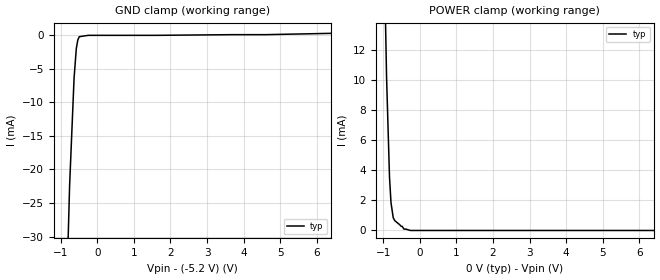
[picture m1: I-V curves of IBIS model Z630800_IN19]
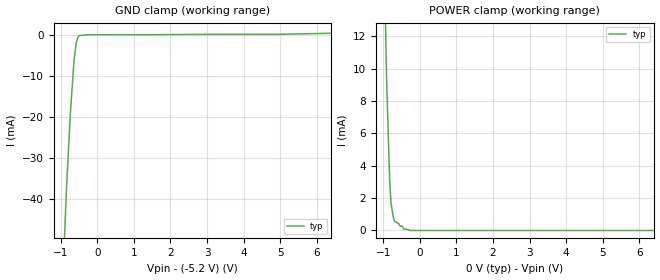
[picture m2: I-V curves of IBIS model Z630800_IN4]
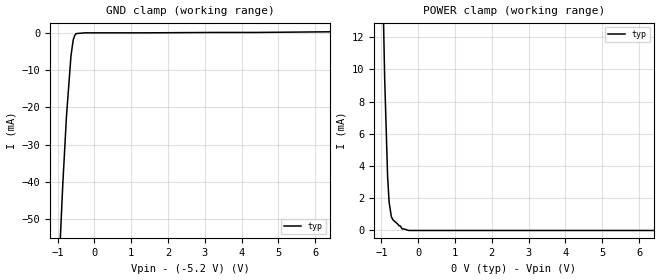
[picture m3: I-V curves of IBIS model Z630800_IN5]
| YOU ARE ONLY AUTHORIZED TO USE THIS SOFTWARE
| ACCORDING TO LICENSOR'S LICENSE RESTRICTIONS.
[IBIS Ver] 3.1
[File Name] mc10ep56dt_-52.ibs
[File Rev] 3
[Source] Derived from mc10ep57dt_-52.ibs Measured
|   and created by ICX Technology
[Date] 7/31/2003
[Copyright]
| (C) COPYRIGHT 1993-2000
| MENTOR GRAPHICS CORPORATION
| ICX STANDARD LIBRARY, ICX PROJECT MODELING,
| ICX CUSTOM MODELING, ICX VENDOR MODEL
| ALL RIGHTS RESERVED.
| THE FOLLOWING ARE TRADEMARKS OR SERVICE MARKS OF
| MENTOR GRAPHICS CORPORATION:ICX (R), ICX STANDARD
| LIBRARY(R), ICX PROJECT MODELING(R), ICX CUSTOM
| MODELING(R), qualityIBIS(TM), MODELVIEWER(TM),
| AND MODELEDITOR(TM)
| ALL COPIES OF SOFTWARE, INCLUDING BUT NOT LIMITED TO
| ANY MODIFICATIONS, ENHANCEMENTS OR DERIVATIVE WORKS,
| MUST CONTAIN ALL MENTOR GRAPHICS CORPORATION'S
| NOTICES AND LEGENDS, INCLUDING THOSE EMBEDDED IN
| SOFTWARE AND THOSE AFFIXED TO SOFTWARE MEDIUM
| AND CONTAINER, AS RECEIVED FROM MENTOR GRAPHICS
| CORPORATION.
|  ZAP Model Builder 2.8
[Component] MC10EP56DT_-52
[Manufacturer] ON
[Package]
| variable   typ   min   max
R_pkg  .18ohms NA NA
L_pkg  4.22nH NA NA
C_pkg  .41pF NA NA
[Pin] signal_name  model_name  R_pin  L_pin C_pin
1 D0a Z630800_IN4 .185 4.57n .42p
2 _D0a Z630800_IN5 .177 3.98n .42p
3 VBB0 POWER .177 3.98n .42p
4 D0b Z630800_IN4 .185 4.57n .42p
5 _D0b Z630800_IN5 .177 3.98n .42p
6 D1a Z630800_IN4 .185 4.57n .42p
7 _D1a Z630800_IN5 .177 3.98n .42p
8 VBB1 POWER .177 3.98n .42p
9 D1b Z630800_IN5 .177 3.98n .42p
10 _D1b Z630800_IN4 .185 4.57n .42p
11 VEE POWER .194 5.16n .43p
12 _Q1 Z630800_OUT15 .171 3.6n .37p
13 Q1 Z630800_OUT16 .171 3.6n .37p
14 VCC POWER .174 3.79n .41p
15 SEL1 Z630800_IN19 .177 3.98n .42p
16 COM_SEL Z630800_IN4 .185 4.57n .42p
17 SEL0 Z630800_IN19 .177 3.98n .42p
18 _Q0 Z630800_OUT15 .171 3.6n .37p
19 Q0 Z630800_OUT16 .171 3.6n .37p
20 VCC POWER .194 5.16n .43p
[Diff Pin] inv_pin vdiff tdelay_typ tdelay_min tdelay_max
1 2 150mv NA NA NA
4 5 150mv NA NA NA
6 7 150mv NA NA NA
9 10 150mv NA NA NA
13 12 NA NA NA NA
19 18 NA NA NA NA
| Models and submodels in the file (5): Z630800_IN19 (Input_ECL), Z630800_IN4 (Input_ECL), Z630800_IN5 (Input_ECL), Z630800_OUT15 (Output_ECL), Z630800_OUT16 (Output_ECL)
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| (C) COPYRIGHT 1993-2000
| MENTOR GRAPHICS CORPORATION
| ICX STANDARD LIBRARY, ICX PROJECT MODELING,
| ICX CUSTOM MODELING, ICX VENDOR MODEL
| ALL RIGHTS RESERVED.
| THE FOLLOWING ARE TRADEMARKS OR SERVICE MARKS OF
| MENTOR GRAPHICS CORPORATION:ICX (R), ICX STANDARD
| LIBRARY(R), ICX PROJECT MODELING(R), ICX CUSTOM
| MODELING(R), qualityIBIS(TM), MODELVIEWER(TM),
| AND MODELEDITOR(TM)
| ALL COPIES OF SOFTWARE, INCLUDING BUT NOT LIMITED TO
| ANY MODIFICATIONS, ENHANCEMENTS OR DERIVATIVE WORKS,
| MUST CONTAIN ALL MENTOR GRAPHICS CORPORATION'S
| NOTICES AND LEGENDS, INCLUDING THOSE EMBEDDED IN
| SOFTWARE AND THOSE AFFIXED TO SOFTWARE MEDIUM
| AND CONTAINER, AS RECEIVED FROM MENTOR GRAPHICS
| CORPORATION.
| Model Application Version 1.89 2/18/99.
[Model] Z630800_IN19
Model_type Input_ECL
Vinl = -1.545V
Vinh = -1.145V
C_comp 2.000pF NA NA
| variable typ   min   max
[Voltage Range] -5.200V NA NA
[GND Clamp Reference] -5.200V NA NA
[POWER Clamp Reference] 0.000V NA NA
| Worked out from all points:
|   GND clamp passes 1 mA (typ) near -0.55 V on its own axis
|   POWER clamp passes 1 mA (typ) near -0.74 V on its own axis
[GND Clamp]
-5.2V     -903.1mA   NA         NA
-760mV    -22.4mA    NA         NA
-638mV    -6.4mA     NA         NA
-577mV    -2mA       NA         NA
-536mV    -700uA     NA         NA
-496mV    -200uA     NA         NA
-248mV    0A         NA         NA
1.622V    0A         NA         NA
3.68V     100uA      NA         NA
4.592V    100uA      NA         NA
10.4V     736.8uA    NA         NA
[POWER Clamp]
-5.2V     745.6mA    NA         NA
-1.034V   26.02mA    NA         NA
-912mV    10.23mA    NA         NA
-831mV    3.542mA    NA         NA
-790mV    1.847mA    NA         NA
-730mV    853.3uA    NA         NA
-689mV    657.8uA    NA         NA
-516.5mV  280uA      NA         NA
-486mV    280uA      NA         NA
-435.5mV  91.12uA    NA         NA
-256.7mV  0A         NA         NA
10.4V     0A         NA         NA
| (C) COPYRIGHT 1993-2000
| MENTOR GRAPHICS CORPORATION
| ICX STANDARD LIBRARY, ICX PROJECT MODELING,
| ICX CUSTOM MODELING, ICX VENDOR MODEL
| ALL RIGHTS RESERVED.
| THE FOLLOWING ARE TRADEMARKS OR SERVICE MARKS OF
| MENTOR GRAPHICS CORPORATION:ICX (R), ICX STANDARD
| LIBRARY(R), ICX PROJECT MODELING(R), ICX CUSTOM
| MODELING(R), qualityIBIS(TM), MODELVIEWER(TM),
| AND MODELEDITOR(TM)
| ALL COPIES OF SOFTWARE, INCLUDING BUT NOT LIMITED TO
| ANY MODIFICATIONS, ENHANCEMENTS OR DERIVATIVE WORKS,
| MUST CONTAIN ALL MENTOR GRAPHICS CORPORATION'S
| NOTICES AND LEGENDS, INCLUDING THOSE EMBEDDED IN
| SOFTWARE AND THOSE AFFIXED TO SOFTWARE MEDIUM
| AND CONTAINER, AS RECEIVED FROM MENTOR GRAPHICS
| CORPORATION.
| Model Application Version 1.89 2/18/99.
[Model] Z630800_IN4
Model_type Input_ECL
Vinl = -1.545V
Vinh = -1.145V
C_comp 2.000pF NA NA
| variable typ   min   max
[Voltage Range] -5.200V NA NA
[GND Clamp Reference] -5.200V NA NA
[POWER Clamp Reference] 0.000V NA NA
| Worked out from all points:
|   GND clamp passes 1 mA (typ) near -0.55 V on its own axis
|   POWER clamp passes 1 mA (typ) near -0.74 V on its own axis
[GND Clamp]
-5.2V     -970.5mA   NA         NA
-841mV    -36.8mA    NA         NA
-739mV    -19.2mA    NA         NA
-638mV    -6.2mA     NA         NA
-577mV    -1.9mA     NA         NA
-536mV    -700uA     NA         NA
-496mV    -200uA     NA         NA
-248mV    0A         NA         NA
1.379V    0A         NA         NA
3.194V    100uA      NA         NA
4.926V    100uA      NA         NA
10.4V     1.048mA    NA         NA
[POWER Clamp]
-5.2V     653.1mA    NA         NA
-1.034V   23.77mA    NA         NA
-912mV    9.495mA    NA         NA
-831mV    3.309mA    NA         NA
-790mV    1.716mA    NA         NA
-730mV    826.2uA    NA         NA
-689mV    540.4uA    NA         NA
-537mV    268.5uA    NA         NA
-486mV    268.5uA    NA         NA
-435.5mV  85.97uA    NA         NA
-256.7mV  0A         NA         NA
10.4V     0A         NA         NA
| (C) COPYRIGHT 1993-2000
| MENTOR GRAPHICS CORPORATION
| ICX STANDARD LIBRARY, ICX PROJECT MODELING,
| ICX CUSTOM MODELING, ICX VENDOR MODEL
| ALL RIGHTS RESERVED.
| THE FOLLOWING ARE TRADEMARKS OR SERVICE MARKS OF
| MENTOR GRAPHICS CORPORATION:ICX (R), ICX STANDARD
| LIBRARY(R), ICX PROJECT MODELING(R), ICX CUSTOM
| MODELING(R), qualityIBIS(TM), MODELVIEWER(TM),
| AND MODELEDITOR(TM)
| ALL COPIES OF SOFTWARE, INCLUDING BUT NOT LIMITED TO
| ANY MODIFICATIONS, ENHANCEMENTS OR DERIVATIVE WORKS,
| MUST CONTAIN ALL MENTOR GRAPHICS CORPORATION'S
| NOTICES AND LEGENDS, INCLUDING THOSE EMBEDDED IN
| SOFTWARE AND THOSE AFFIXED TO SOFTWARE MEDIUM
| AND CONTAINER, AS RECEIVED FROM MENTOR GRAPHICS
| CORPORATION.
| Model Application Version 1.89 2/18/99.
[Model] Z630800_IN5
Model_type Input_ECL
Vinl = -1.545V
Vinh = -1.145V
C_comp 2.000pF NA NA
| variable typ   min   max
[Voltage Range] -5.200V NA NA
[GND Clamp Reference] -5.200V NA NA
[POWER Clamp Reference] 0.000V NA NA
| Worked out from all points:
|   GND clamp passes 1 mA (typ) near -0.55 V on its own axis
|   POWER clamp passes 1 mA (typ) near -0.74 V on its own axis
[GND Clamp]
-5.2V     -988mA     NA         NA
-861mV    -40.8mA    NA         NA
-760mV    -22.4mA    NA         NA
-638mV    -6.2mA     NA         NA
-577mV    -1.9mA     NA         NA
-536mV    -700uA     NA         NA
-496mV    -200uA     NA         NA
-248mV    0A         NA         NA
1.389V    0A         NA         NA
3.214V    100uA      NA         NA
4.359V    100uA      NA         NA
10.4V     627.6uA    NA         NA
[POWER Clamp]
-5.2V     645.7mA    NA         NA
-1.034V   23.74mA    NA         NA
-912mV    9.547mA    NA         NA
-831mV    3.354mA    NA         NA
-790mV    1.758mA    NA         NA
-730mV    862.8uA    NA         NA
-689mV    666.4uA    NA         NA
-516.5mV  284.1uA    NA         NA
-486mV    284.1uA    NA         NA
-435.5mV  92.93uA    NA         NA
-256.7mV  0A         NA         NA
10.4V     0A         NA         NA
